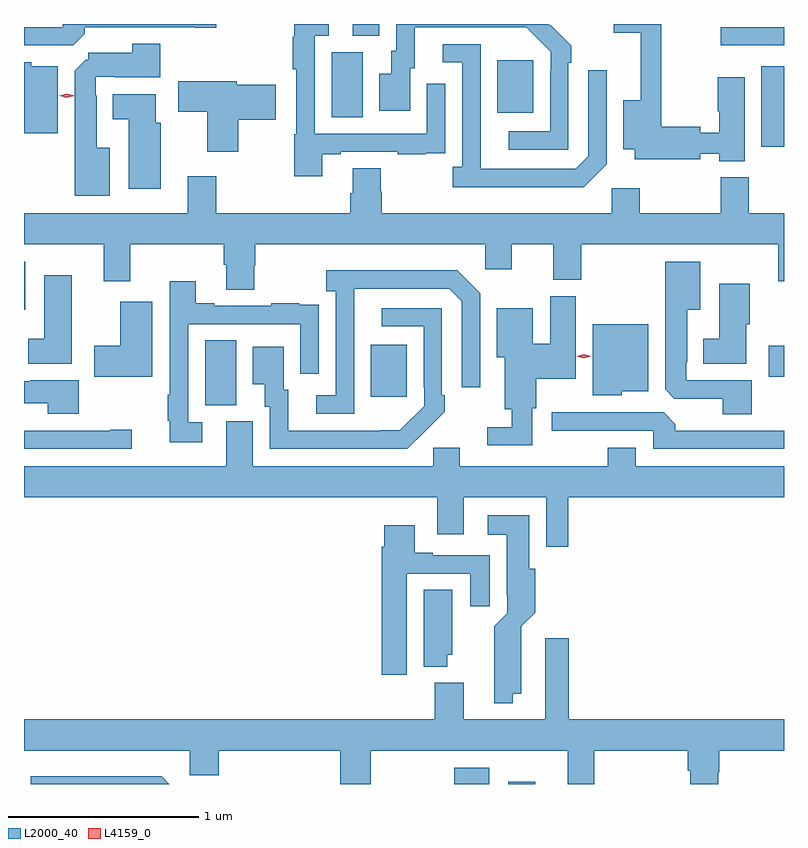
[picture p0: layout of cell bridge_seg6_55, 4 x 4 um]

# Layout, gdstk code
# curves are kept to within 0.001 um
import gdstk
lib = gdstk.Library(unit=1e-6, precision=1e-09)
def R(c, l, rs):  # rectangles x0, y0, x1, y1
    for r in rs: c.add(gdstk.rectangle(r[:2], r[2:], *l))
def P(c, l, *ps):  # polygons
    for p in ps: c.add(gdstk.Polygon(p, *l))
L2000_40 = (2000, 40)
L4159_0 = (4159, 0)

bridge_seg6_55 = lib.new_cell('bridge_seg6_55')
R(bridge_seg6_55, L2000_40, [(1083.491,983.124,1083.676,983.209), (1083.776,983.124,1083.919,983.137), (1082.18,985.117,1082.344,985.46), (1083.053,985.161,1083.241,985.435), (1085.148,985.268,1085.227,985.431), (1081.227,985.619,1081.234,985.873), (1085.108,986.478,1085.227,986.902), (1082.846,986.632,1083.01,986.976), (1083.719,986.657,1083.907,986.932), (1084.893,987.012,1085.227,987.108), (1082.957,987.061,1083.097,987.124)])
P(bridge_seg6_55, L2000_40, [(1084.092,986.921),(1084.107,986.921),(1084.107,987.009),(1084.002,987.114),(1084.001,987.113),(1083.99,987.124),(1083.186,987.124),(1083.186,986.982),(1083.161,986.982),(1083.161,986.863),(1083.098,986.863),(1083.098,986.667),(1083.259,986.667),(1083.259,986.892),(1083.283,986.892),(1083.283,987.108),(1083.871,987.108),(1083.999,986.979),(1083.999,986.879),(1083.996,986.879),(1083.996,986.559),(1083.777,986.559),(1083.777,986.463),(1084.092,986.463)],
  [(1082.797,986.439),(1082.893,986.439),(1082.893,986.451),(1083.193,986.451),(1083.193,986.439),(1083.341,986.439),(1083.341,986.445),(1083.443,986.445),(1083.443,986.554),(1083.444,986.554),(1083.444,986.809),(1083.348,986.809),(1083.348,986.547),(1082.757,986.547),(1082.757,987.063),(1082.83,987.063),(1082.83,987.124),(1082.649,987.124),(1082.649,987.056),(1082.641,987.056),(1082.641,986.887),(1082.661,986.887),(1082.661,986.544),(1082.649,986.544),(1082.649,986.322),(1082.797,986.322)],
  [(1081.547,987.074),(1081.547,987.108),(1082.126,987.108),(1082.126,987.103),(1082.239,987.103),(1082.239,987.124),(1081.431,987.124),(1081.431,987.108),(1081.227,987.108),(1081.227,987.012),(1081.485,987.012)],
  [(1085.02,986.845),(1084.879,986.845),(1084.879,986.665),(1084.886,986.665),(1084.886,986.551),(1084.786,986.551),(1084.786,986.582),(1084.582,986.582),(1084.582,987.124),(1084.332,987.124),(1084.332,987.078),(1084.472,987.078),(1084.472,986.722),(1084.382,986.722),(1084.382,986.465),(1084.442,986.465),(1084.442,986.411),(1084.786,986.411),(1084.786,986.442),(1084.886,986.442),(1084.886,986.402),(1085.02,986.402)],
  [(1081.678,986.473),(1081.609,986.473),(1081.609,986.747),(1081.605,986.747),(1081.605,986.847),(1081.705,986.847),(1081.705,986.843),(1081.945,986.843),(1081.945,987.019),(1081.796,987.019),(1081.796,986.973),(1081.566,986.973),(1081.566,986.937),(1081.553,986.937),(1081.493,986.877),(1081.493,986.219),(1081.678,986.219)],
  [(1084.293,986.385),(1084.293,986.881),(1084.197,986.881),(1084.197,986.427),(1084.131,986.361),(1083.631,986.361),(1083.63,987.018),(1083.432,987.018),(1083.432,986.922),(1083.534,986.922),(1083.534,986.374),(1083.483,986.374),(1083.483,986.264),(1084.172,986.264)],
  [(1081.405,986.902),(1081.266,986.902),(1081.266,986.923),(1081.227,986.923),(1081.227,986.549),(1081.405,986.549)],
  [(1082.355,986.621),(1082.551,986.621),(1082.551,986.804),(1082.347,986.804),(1082.347,986.824),(1082.04,986.824),(1082.04,986.662),(1082.192,986.662),(1082.192,986.451),(1082.355,986.451)],
  [(1081.948,986.604),(1081.921,986.604),(1081.921,986.755),(1081.694,986.755),(1081.694,986.624),(1081.778,986.624),(1081.778,986.256),(1081.948,986.256)],
  [(1085.041,986.317),(1084.894,986.317),(1084.894,986.128),(1084.467,986.128),(1084.467,986.26),(1084.32,986.26),(1084.32,986.128),(1083.11,986.128),(1083.11,986.241),(1083.105,986.241),(1083.105,986.366),(1082.957,986.366),(1082.957,986.234),(1082.945,986.234),(1082.945,986.128),(1082.238,986.128),(1082.238,986.323),(1082.09,986.323),(1082.09,986.128),(1081.227,986.128),(1081.227,985.964),(1081.646,985.964),(1081.646,985.77),(1081.786,985.77),(1081.786,985.964),(1082.279,985.964),(1082.279,985.858),(1082.291,985.858),(1082.291,985.726),(1082.439,985.726),(1082.439,985.851),(1082.444,985.851),(1082.444,985.964),(1083.654,985.964),(1083.654,985.833),(1083.793,985.833),(1083.793,985.964),(1084.013,985.964),(1084.013,985.777),(1084.161,985.777),(1084.161,985.964),(1085.198,985.964),(1085.198,985.77),(1085.227,985.77),(1085.227,986.128),(1085.041,986.128)],
  [(1085.057,985.248),(1084.713,985.248),(1084.713,985.345),(1084.717,985.345),(1084.717,985.619),(1084.786,985.619),(1084.786,985.873),(1084.601,985.873),(1084.601,985.201),(1084.65,985.152),(1084.904,985.152),(1084.904,985.069),(1085.057,985.069)],
  [(1082.964,985.531),(1082.965,985.731),(1083.465,985.731),(1083.531,985.665),(1083.531,985.212),(1083.627,985.212),(1083.627,985.707),(1083.506,985.828),(1082.817,985.828),(1082.817,985.718),(1082.868,985.718),(1082.868,985.17),(1082.766,985.17),(1082.766,985.074),(1082.964,985.074)],
  [(1081.477,985.801),(1081.334,985.801),(1081.334,985.468),(1081.25,985.468),(1081.25,985.337),(1081.477,985.337)],
  [(1082.164,985.029),(1082.091,985.029),(1082.091,985.545),(1082.682,985.545),(1082.682,985.284),(1082.778,985.284),(1082.778,985.538),(1082.777,985.538),(1082.777,985.647),(1082.675,985.647),(1082.675,985.654),(1082.527,985.654),(1082.527,985.641),(1082.227,985.641),(1082.227,985.654),(1082.131,985.654),(1082.131,985.771),(1081.995,985.771),(1081.995,985.172),(1081.983,985.172),(1081.983,985.036),(1081.994,985.036),(1081.994,984.924),(1082.164,984.924)],
  [(1085.029,985.545),(1085.047,985.545),(1085.047,985.756),(1084.886,985.756),(1084.886,985.468),(1084.802,985.468),(1084.802,985.337),(1085.029,985.337)],
  [(1083.903,985.101),(1083.924,985.101),(1083.924,985.256),(1084.132,985.256),(1084.132,985.692),(1083.998,985.692),(1083.998,985.441),(1083.904,985.441),(1083.904,985.627),(1083.716,985.627),(1083.716,985.37),(1083.758,985.37),(1083.758,985.097),(1083.795,985.097),(1083.795,985.002),(1083.666,985.002),(1083.666,984.906),(1083.903,984.906)],
  [(1081.903,985.663),(1081.733,985.663),(1081.733,985.431),(1081.596,985.431),(1081.596,985.268),(1081.903,985.268)],
  [(1083.335,984.979),(1083.336,984.978),(1083.441,985.083),(1083.441,985.171),(1083.426,985.171),(1083.426,985.629),(1083.111,985.629),(1083.111,985.533),(1083.33,985.533),(1083.33,985.213),(1083.333,985.213),(1083.333,985.113),(1083.205,984.985),(1082.617,984.984),(1082.617,985.2),(1082.593,985.2),(1082.593,985.426),(1082.432,985.426),(1082.432,985.229),(1082.495,985.229),(1082.495,985.11),(1082.52,985.11),(1082.52,984.888),(1083.244,984.888)],
  [(1084.374,985.19),(1084.513,985.19),(1084.513,985.543),(1084.22,985.543),(1084.22,985.169),(1084.374,985.169)],
  [(1081.516,985.249),(1081.261,985.249),(1081.261,985.245),(1081.227,985.245),(1081.227,985.127),(1081.352,985.127),(1081.352,985.073),(1081.516,985.073)],
  [(1085.227,984.984),(1084.655,984.984),(1084.655,985.018),(1084.593,985.08),(1084.005,985.08),(1084.005,984.984),(1084.539,984.984),(1084.539,984.888),(1085.227,984.888)],
  [(1084.091,984.632),(1085.227,984.632),(1085.227,984.796),(1084.447,984.796),(1084.447,984.895),(1084.3,984.895),(1084.3,984.796),(1083.52,984.796),(1083.52,984.894),(1083.381,984.894),(1083.381,984.796),(1082.431,984.796),(1082.431,985.032),(1082.291,985.032),(1082.291,984.796),(1081.227,984.796),(1081.227,984.632),(1083.401,984.632),(1083.401,984.438),(1083.541,984.438),(1083.541,984.632),(1083.975,984.632),(1083.975,984.372),(1084.091,984.372)],
  [(1081.795,984.989),(1081.682,984.989),(1081.682,984.984),(1081.227,984.984),(1081.227,984.888),(1081.795,984.888)],
  [(1083.799,983.6),(1083.844,983.6),(1083.845,983.954),(1083.917,984.026),(1083.917,984.258),(1083.886,984.258),(1083.886,984.538),(1083.669,984.538),(1083.669,984.437),(1083.767,984.437),(1083.767,984.118),(1083.771,984.118),(1083.771,984.024),(1083.701,983.954),(1083.702,983.549),(1083.799,983.549)],
  [(1083.241,984.231),(1083.575,984.231),(1083.575,984.06),(1083.679,984.06),(1083.679,984.327),(1083.379,984.327),(1083.379,984.34),(1083.283,984.34),(1083.283,984.487),(1083.122,984.487),(1083.122,984.374),(1083.11,984.374),(1083.11,983.7),(1083.241,983.7)],
  [(1083.454,983.805),(1083.481,983.805),(1083.481,984.146),(1083.332,984.146),(1083.332,983.741),(1083.454,983.741)],
  [(1083.051,983.3),(1084.088,983.3),(1084.088,983.124),(1084.228,983.124),(1084.228,983.3),(1084.721,983.3),(1084.721,983.194),(1084.733,983.194),(1084.733,983.124),(1084.881,983.124),(1084.881,983.187),(1084.886,983.187),(1084.886,983.3),(1085.227,983.3),(1085.227,983.464),(1084.094,983.464),(1084.094,983.89),(1083.971,983.89),(1083.971,983.464),(1083.541,983.464),(1083.541,983.656),(1083.389,983.656),(1083.389,983.464),(1081.227,983.464),(1081.227,983.3),(1082.1,983.3),(1082.1,983.169),(1082.252,983.169),(1082.252,983.3),(1082.891,983.3),(1082.891,983.124),(1083.051,983.124)],
  [(1081.952,983.164),(1081.263,983.164),(1081.263,983.124),(1081.992,983.124)])
P(bridge_seg6_55, L4159_0, [(1084.174,985.365),(1084.136,985.375),(1084.136,985.375),(1084.136,985.376),(1084.174,985.385),(1084.213,985.375),(1084.213,985.375),(1084.213,985.375)],
  [(1081.453,986.736),(1081.412,986.746),(1081.412,986.746),(1081.412,986.746),(1081.453,986.756),(1081.494,986.746),(1081.494,986.746),(1081.494,986.746)])

lib.write_gds('bridge_seg6_55.gds')
